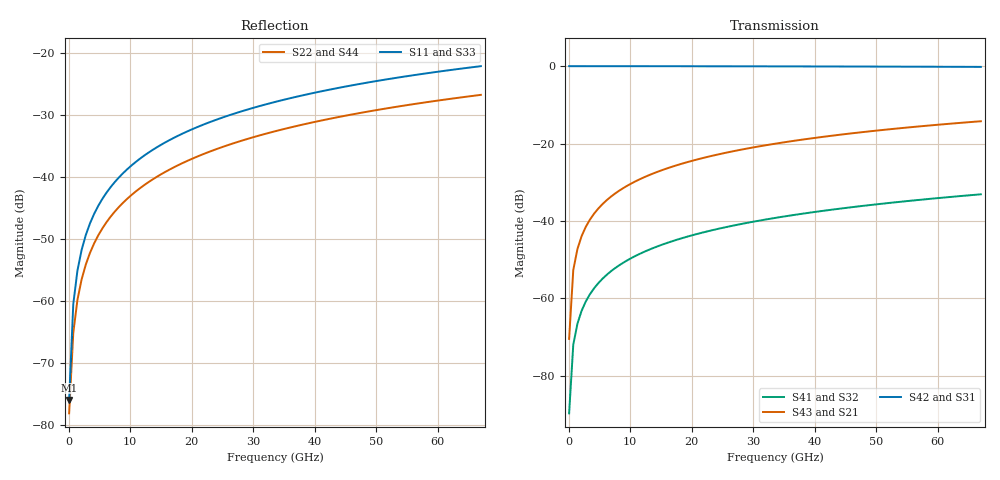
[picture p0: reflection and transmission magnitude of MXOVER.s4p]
! Created with skrf (http://scikit-rf.org).
# Hz S RI R 50.0
!freq ReS11 ImS11 ReS12 ImS12 ReS13 ImS13
! ReS14 ImS14
! ReS21 ImS21 ReS22 ImS22 ReS23 ImS23
! ReS24 ImS24
! ReS31 ImS31 ReS32 ImS32 ReS33 ImS33
! ReS34 ImS34
! ReS41 ImS41 ReS42 ImS42 ReS43 ImS43
! ReS44 ImS44
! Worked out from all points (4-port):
!   100 points, 100 MHz to 67 GHz, reference 50 ohm
!   strongest paths, dB at 100 MHz, 16.99 GHz, 33.89 GHz, 50.78 GHz, 67 GHz:
!     S42: 0.0, 0.0, -0.1, -0.1, -0.2
!     S31: 0.0, 0.0, -0.1, -0.1, -0.2
!     S43: -70.5, -25.9, -20.0, -16.5, -14.2
!     S21: -70.5, -25.9, -20.0, -16.5, -14.2
!     S41: -89.7, -45.2, -39.1, -35.6, -33.1
!     S32: -89.8, -45.2, -39.2, -35.6, -33.2
!   lowest |S11| = -76.0 dB at 100 MHz (marker M1), VSWR 1.00, Z = 50 - j0.0121 ohm
!   |S11| at or under -10 dB: start of sweep to end of sweep
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1e8  0.000104 -0.000121  4.76e-06 0.000299  0.9999 -0.000539  -3.86e-06 -3.22e-05
     4.76e-06 0.000299  0.000103 6.98e-05  -3.86e-06 -3.25e-05  0.9999 -0.000377
     0.9999 -0.000539  -3.86e-06 -3.22e-05  0.000104 -0.000121  4.76e-06 0.000299
     -3.86e-06 -3.25e-05  0.9999 -0.000377  4.76e-06 0.000299  0.000103 6.98e-05
7.757576e8  0.000102 -0.000939  1.83e-05 0.00232  0.9999 -0.00418  -4.55e-06 -0.00025
            1.83e-05 0.00232  0.00011 0.000542  -4.59e-06 -0.000252  0.9999 -0.00293
            0.9999 -0.00418  -4.55e-06 -0.00025  0.000102 -0.000939  1.83e-05 0.00232
            -4.59e-06 -0.000252  0.9999 -0.00293  1.83e-05 0.00232  0.00011 0.000542
2.127273e9  8.57e-05 -0.00257  8.07e-05 0.00636  0.9998 -0.0115  -5.9e-06 -0.000685
            8.06e-05 0.00636  0.000138 0.00149  -6.02e-06 -0.00069  0.9998 -0.00802
            0.9998 -0.0115  -5.9e-06 -0.000685  8.57e-05 -0.00257  8.07e-05 0.00636
            -6.02e-06 -0.00069  0.9998 -0.00802  8.06e-05 0.00636  0.000138 0.00149
5.506061e9  -4.23e-05 -0.00666  0.000453 0.0165  0.9992 -0.0296  -1.91e-05 -0.00177
            0.000452 0.0164  0.000264 0.00384  -1.96e-05 -0.00179  0.9994 -0.0208
            0.9992 -0.0296  -1.91e-05 -0.00177  -4.23e-05 -0.00666  0.000453 0.0165
            -1.96e-05 -0.00179  0.9994 -0.0208  0.000452 0.0164  0.000264 0.00384
1.023636e10  -0.000435 -0.0124  0.00149 0.0306  0.9976 -0.0551  -6.06e-05 -0.0033
             0.00149 0.0305  0.000577 0.00713  -6.21e-05 -0.00332  0.9985 -0.0385
             0.9976 -0.0551  -6.06e-05 -0.0033  -0.000435 -0.0124  0.00149 0.0306
             -6.21e-05 -0.00332  0.9985 -0.0385  0.00149 0.0305  0.000577 0.00713
3.050909e10  -0.00498 -0.0363  0.0127 0.0898  0.9811 -0.1623  -0.000594 -0.00984
             0.0127 0.0897  0.00358 0.0209  -0.000605 -0.00991  0.9886 -0.1138
             0.9811 -0.1623  -0.000594 -0.00984  -0.00498 -0.0363  0.0127 0.0898
             -0.000605 -0.00991  0.9886 -0.1138  0.0127 0.0897  0.00358 0.0209
6.7e10  -0.0231 -0.0746  0.0578 0.1856  0.9149 -0.3407  -0.0032 -0.0217
        0.0578 0.1854  0.0158 0.0431  -0.00325 -0.0219  0.9486 -0.2407
        0.9149 -0.3407  -0.0032 -0.0217  -0.0231 -0.0746  0.0578 0.1856
        -0.00325 -0.0219  0.9486 -0.2407  0.0578 0.1854  0.0158 0.0431
